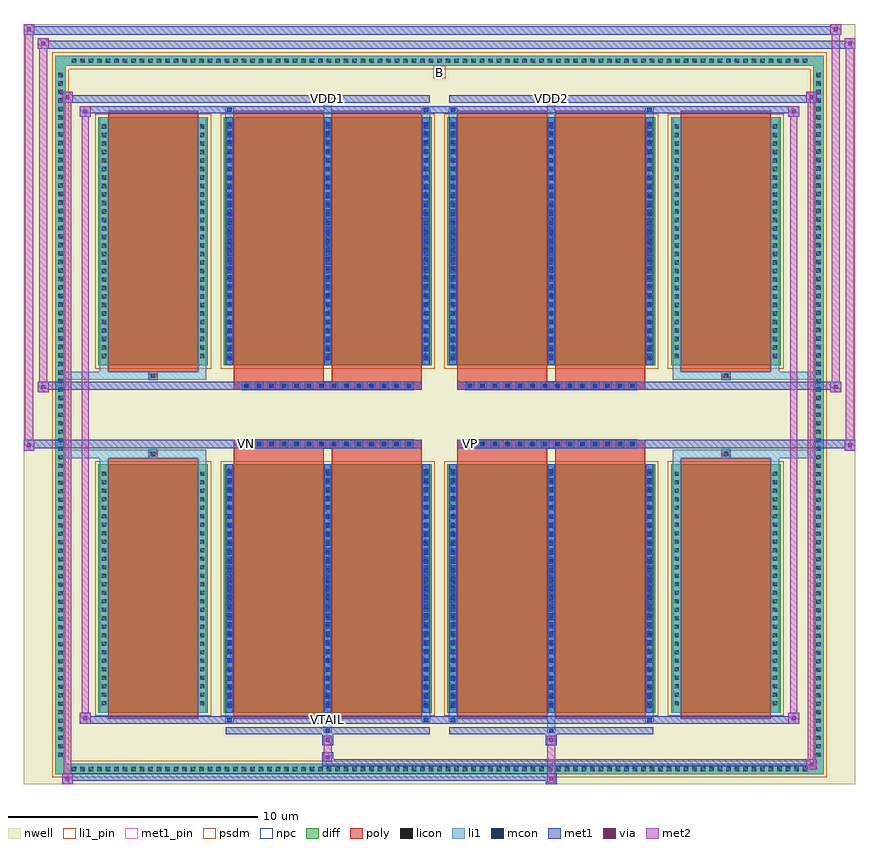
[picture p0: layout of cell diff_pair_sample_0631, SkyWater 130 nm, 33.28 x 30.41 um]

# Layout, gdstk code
import gdstk
lib = gdstk.Library(unit=1e-6, precision=5e-09)
def R(c, l, rs):  # rectangles x0, y0, x1, y1
    for r in rs: c.add(gdstk.rectangle(r[:2], r[2:], *l))
def A(c, l, x, y, w, h, nx, ny, dx, dy):  # array of equal rectangles
    R(c, l, [(x+i*dx, y+j*dy, x+i*dx+w, y+j*dy+h) for i in range(nx) for j in range(ny)])
def P(c, l, *ps):  # polygons
    for p in ps: c.add(gdstk.Polygon(p, *l))
nwell = (64, 20)
diff = (65, 20)
poly = (66, 20)
licon = (66, 44)
li1_pin = (67, 16)
li1 = (67, 20)
mcon = (67, 44)
met1_pin = (68, 16)
met1 = (68, 20)
via = (68, 44)
met2 = (69, 20)
psdm = (94, 20)
npc = (95, 20)

diff_pair_sample_0631 = lib.new_cell('diff_pair_sample_0631')
R(diff_pair_sample_0631, nwell, [(-16.64,-14.77,16.64,15.64), (-13.96,-12.96,-0.01,-0.8), (0.01,-12.96,13.96,-0.8), (-13.96,0.8,-0.01,12.96), (0.01,0.8,13.96,12.96)])
A(diff_pair_sample_0631, diff, -14.825, -14.37, 0.41, 0.41, 87, 2, 0.34, 28.33)
A(diff_pair_sample_0631, diff, -15.37, -13.805, 0.41, 0.41, 1, 81, 0, 0.34)
A(diff_pair_sample_0631, diff, 14.96, -13.805, 0.41, 0.41, 1, 81, 0, 0.34)
R(diff_pair_sample_0631, diff, [(-14.825,-14.37,14.825,-13.96), (-15.37,-13.805,-14.96,13.805), (14.96,-13.805,15.37,13.805), (-13.65,-11.915,-9.27,-1.985), (-8.63,-11.915,-0.32,-1.985), (0.32,-11.915,8.63,-1.985), (9.27,-11.915,13.65,-1.985), (-13.65,1.985,-9.27,11.915), (-8.63,1.985,-0.32,11.915), (0.32,1.985,8.63,11.915), (9.27,1.985,13.65,11.915), (-14.825,13.96,14.825,14.37)])
P(diff_pair_sample_0631, diff, [(15.37,14.37),(-15.37,14.37),(-15.37,-13.96),(-14.96,-13.96),(-14.96,13.96),(14.96,13.96),(14.96,-13.96),(-14.96,-13.96),(-15.37,-13.96),(-15.37,-14.37),(15.37,-14.37)])
A(diff_pair_sample_0631, poly, -7.89, -1.33, 0.33, 0.33, 14, 2, 0.5, 2.33)
A(diff_pair_sample_0631, poly, 1.06, -1.33, 0.33, 0.33, 14, 2, 0.5, 2.33)
R(diff_pair_sample_0631, poly, [(-13.26,-12.165,-9.66,-1.735), (-8.24,-12.165,-4.64,-1.735), (-4.31,-12.165,-0.71,-1.735), (0.71,-12.165,4.31,-1.735), (4.64,-12.165,8.24,-1.735), (9.66,-12.165,13.26,-1.735), (-11.625,-1.735,-11.295,-1.405), (-11.625,-1.735,-11.295,-1.405), (-8.24,-1.735,-4.64,-1.33), (-4.31,-1.735,-0.71,-1.33), (0.71,-1.735,4.31,-1.33), (4.64,-1.735,8.24,-1.33), (11.295,-1.735,11.625,-1.405), (11.295,-1.735,11.625,-1.405), (-8.24,-1.33,-0.71,-1), (0.71,-1.33,8.24,-1), (-8.24,1,-0.71,1.33), (0.71,1,8.24,1.33), (-8.24,1.33,-4.64,1.735), (-4.31,1.33,-0.71,1.735), (0.71,1.33,4.31,1.735), (4.64,1.33,8.24,1.735), (-11.625,1.405,-11.295,1.735), (-11.625,1.405,-11.295,1.735), (11.295,1.405,11.625,1.735), (11.295,1.405,11.625,1.735), (-13.26,1.735,-9.66,12.165), (-8.24,1.735,-4.64,12.165), (-4.31,1.735,-0.71,12.165), (0.71,1.735,4.31,12.165), (4.64,1.735,8.24,12.165), (9.66,1.735,13.26,12.165)])
A(diff_pair_sample_0631, licon, -14.705, -14.25, 0.17, 0.17, 87, 2, 0.34, 28.33)
A(diff_pair_sample_0631, licon, -15.25, -13.685, 0.17, 0.17, 1, 81, 0, 0.34)
A(diff_pair_sample_0631, licon, 15.08, -13.685, 0.17, 0.17, 1, 81, 0, 0.34)
A(diff_pair_sample_0631, licon, -13.51, -11.625, 0.17, 0.17, 1, 28, 0, 0.34)
A(diff_pair_sample_0631, licon, -9.58, -11.625, 0.17, 0.17, 1, 28, 0, 0.34)
A(diff_pair_sample_0631, licon, -8.49, -11.625, 0.17, 0.17, 3, 28, 3.93, 0.34)
A(diff_pair_sample_0631, licon, 0.46, -11.625, 0.17, 0.17, 3, 28, 3.93, 0.34)
A(diff_pair_sample_0631, licon, 9.41, -11.625, 0.17, 0.17, 1, 28, 0, 0.34)
A(diff_pair_sample_0631, licon, 13.34, -11.625, 0.17, 0.17, 1, 28, 0, 0.34)
A(diff_pair_sample_0631, licon, -7.81, -1.25, 0.17, 0.17, 14, 2, 0.5, 2.33)
A(diff_pair_sample_0631, licon, 1.14, -1.25, 0.17, 0.17, 14, 2, 0.5, 2.33)
A(diff_pair_sample_0631, licon, -13.51, 2.275, 0.17, 0.17, 1, 28, 0, 0.34)
A(diff_pair_sample_0631, licon, -9.58, 2.275, 0.17, 0.17, 1, 28, 0, 0.34)
A(diff_pair_sample_0631, licon, -8.49, 2.275, 0.17, 0.17, 3, 28, 3.93, 0.34)
A(diff_pair_sample_0631, licon, 0.46, 2.275, 0.17, 0.17, 3, 28, 3.93, 0.34)
A(diff_pair_sample_0631, licon, 9.41, 2.275, 0.17, 0.17, 1, 28, 0, 0.34)
A(diff_pair_sample_0631, licon, 13.34, 2.275, 0.17, 0.17, 1, 28, 0, 0.34)
R(diff_pair_sample_0631, licon, [(-11.545,-1.655,-11.375,-1.485), (11.375,-1.655,11.545,-1.485), (-11.545,1.485,-11.375,1.655), (11.375,1.485,11.545,1.655)])
R(diff_pair_sample_0631, li1_pin, [(-0.25,13.46,0.25,13.96)])
A(diff_pair_sample_0631, li1, -14.785, -14.33, 0.33, 0.33, 87, 2, 0.34, 28.33)
A(diff_pair_sample_0631, li1, -15.33, -13.765, 0.33, 0.33, 1, 81, 0, 0.34)
A(diff_pair_sample_0631, li1, 15, -13.765, 0.33, 0.33, 1, 81, 0, 0.34)
A(diff_pair_sample_0631, li1, -8.57, -11.915, 0.33, 9.93, 3, 2, 3.93, 13.9)
A(diff_pair_sample_0631, li1, 0.38, -11.915, 0.33, 9.93, 3, 2, 3.93, 13.9)
A(diff_pair_sample_0631, li1, -8.49, -11.715, 0.17, 0.17, 3, 27, 3.93, 0.36)
A(diff_pair_sample_0631, li1, -8.49, -11.715, 0.17, 9.53, 3, 2, 3.93, 13.9)
A(diff_pair_sample_0631, li1, 0.46, -11.715, 0.17, 0.17, 3, 27, 3.93, 0.36)
A(diff_pair_sample_0631, li1, 0.46, -11.715, 0.17, 9.53, 3, 2, 3.93, 13.9)
A(diff_pair_sample_0631, li1, -13.59, -11.705, 0.33, 0.33, 1, 28, 0, 0.34)
A(diff_pair_sample_0631, li1, -9.66, -11.705, 0.33, 0.33, 1, 28, 0, 0.34)
A(diff_pair_sample_0631, li1, -8.57, -11.705, 0.33, 0.33, 3, 28, 3.93, 0.34)
A(diff_pair_sample_0631, li1, 0.38, -11.705, 0.33, 0.33, 3, 28, 3.93, 0.34)
A(diff_pair_sample_0631, li1, 9.33, -11.705, 0.33, 0.33, 1, 28, 0, 0.34)
A(diff_pair_sample_0631, li1, 13.26, -11.705, 0.33, 0.33, 1, 28, 0, 0.34)
A(diff_pair_sample_0631, li1, -7.89, -1.33, 0.33, 0.33, 14, 2, 0.5, 2.33)
A(diff_pair_sample_0631, li1, 1.06, -1.33, 0.33, 0.33, 14, 2, 0.5, 2.33)
A(diff_pair_sample_0631, li1, -8.49, 2.185, 0.17, 0.17, 3, 27, 3.93, 0.36)
A(diff_pair_sample_0631, li1, 0.46, 2.185, 0.17, 0.17, 3, 27, 3.93, 0.36)
A(diff_pair_sample_0631, li1, -13.59, 2.195, 0.33, 0.33, 1, 28, 0, 0.34)
A(diff_pair_sample_0631, li1, -9.66, 2.195, 0.33, 0.33, 1, 28, 0, 0.34)
A(diff_pair_sample_0631, li1, -8.57, 2.195, 0.33, 0.33, 3, 28, 3.93, 0.34)
A(diff_pair_sample_0631, li1, 0.38, 2.195, 0.33, 0.33, 3, 28, 3.93, 0.34)
A(diff_pair_sample_0631, li1, 9.33, 2.195, 0.33, 0.33, 1, 28, 0, 0.34)
A(diff_pair_sample_0631, li1, 13.26, 2.195, 0.33, 0.33, 1, 28, 0, 0.34)
R(diff_pair_sample_0631, li1, [(-15.37,-14.37,-14.96,-13.96), (-15.37,-14.37,-14.96,-13.96), (-14.96,-14.37,14.96,-13.96), (14.96,-14.37,15.37,-13.96), (14.96,-14.37,15.37,-13.96), (-15.37,-13.96,-14.96,13.96), (14.96,-13.96,15.37,13.96), (-4.64,-12.72,-4.31,-11.915), (-4.56,-12.72,-4.39,-12.55), (4.31,-12.72,4.64,-11.915), (4.39,-12.72,4.56,-12.55), (-8.57,-12.29,-8.24,-11.915), (-8.49,-12.29,-8.32,-12.12), (-0.71,-12.29,-0.38,-11.915), (-0.63,-12.29,-0.46,-12.12), (0.38,-12.29,0.71,-11.915), (0.46,-12.29,0.63,-12.12), (8.24,-12.29,8.57,-11.915), (8.32,-12.29,8.49,-12.12), (-13.59,-11.915,-13.26,-1.985), (-9.66,-11.915,-9.33,-1.985), (9.33,-11.915,9.66,-1.985), (13.26,-11.915,13.59,-1.985), (-13.59,-1.985,-13.26,-1.405), (-9.66,-1.985,-9.33,-1.405), (9.33,-1.985,9.66,-1.405), (13.26,-1.985,13.59,-1.405), (-15.37,-1.735,-11.625,-1.405), (-13.59,-1.735,-11.625,-1.405), (-11.625,-1.735,-11.295,-1.405), (-11.295,-1.735,-9.33,-1.405), (9.33,-1.735,11.295,-1.405), (11.295,-1.735,11.625,-1.405), (11.295,-1.735,15.37,-1.405), (11.625,-1.735,13.59,-1.405), (-15.37,1.405,-11.625,1.735), (-13.59,1.405,-11.625,1.735), (-13.59,1.405,-13.26,1.985), (-11.625,1.405,-11.295,1.735), (-11.295,1.405,-9.33,1.735), (-9.66,1.405,-9.33,1.985), (9.33,1.405,11.295,1.735), (9.33,1.405,9.66,1.985), (11.295,1.405,11.625,1.735), (11.295,1.405,15.37,1.735), (11.625,1.405,13.59,1.735), (13.26,1.405,13.59,1.985), (-13.59,1.985,-13.26,11.915), (-9.66,1.985,-9.33,11.915), (9.33,1.985,9.66,11.915), (13.26,1.985,13.59,11.915), (-8.57,11.915,-8.24,12.29), (-4.64,11.915,-4.31,12.72), (-0.71,11.915,-0.38,12.29), (0.38,11.915,0.71,12.29), (4.31,11.915,4.64,12.72), (8.24,11.915,8.57,12.29), (-8.49,12.12,-8.32,12.29), (-0.63,12.12,-0.46,12.29), (0.46,12.12,0.63,12.29), (8.32,12.12,8.49,12.29), (-4.56,12.55,-4.39,12.72), (4.39,12.55,4.56,12.72), (-15.37,13.96,-14.96,14.37), (-15.37,13.96,-14.96,14.37), (-14.96,13.96,14.96,14.37), (14.96,13.96,15.37,14.37), (14.96,13.96,15.37,14.37)])
A(diff_pair_sample_0631, mcon, -8.49, -11.715, 0.17, 0.17, 3, 27, 3.93, 0.36)
A(diff_pair_sample_0631, mcon, 0.46, -11.715, 0.17, 0.17, 3, 27, 3.93, 0.36)
A(diff_pair_sample_0631, mcon, -7.81, -1.25, 0.17, 0.17, 14, 2, 0.5, 2.33)
A(diff_pair_sample_0631, mcon, 1.14, -1.25, 0.17, 0.17, 14, 2, 0.5, 2.33)
A(diff_pair_sample_0631, mcon, -8.49, 2.185, 0.17, 0.17, 3, 27, 3.93, 0.36)
A(diff_pair_sample_0631, mcon, 0.46, 2.185, 0.17, 0.17, 3, 27, 3.93, 0.36)
R(diff_pair_sample_0631, mcon, [(-4.56,-12.72,-4.39,-12.55), (4.39,-12.72,4.56,-12.55), (-8.49,-12.29,-8.32,-12.12), (-0.63,-12.29,-0.46,-12.12), (0.46,-12.29,0.63,-12.12), (8.32,-12.29,8.49,-12.12), (-8.49,12.12,-8.32,12.29), (-0.63,12.12,-0.46,12.29), (0.46,12.12,0.63,12.29), (8.32,12.12,8.49,12.29), (-4.56,12.55,-4.39,12.72), (4.39,12.55,4.56,12.72)])
R(diff_pair_sample_0631, met1_pin, [(-4.61,-12.33,-4.34,-12.06), (-7.86,-1.29,-7.59,-1.02), (1.09,-1.29,1.36,-1.02), (-4.61,12.51,-4.34,12.78), (4.34,12.51,4.61,12.78)])
A(diff_pair_sample_0631, met1, -8.55, -11.915, 0.29, 9.93, 3, 2, 3.93, 13.9)
A(diff_pair_sample_0631, met1, 0.4, -11.915, 0.29, 9.93, 3, 2, 3.93, 13.9)
A(diff_pair_sample_0631, met1, -8.55, -11.775, 0.29, 0.29, 3, 27, 3.93, 0.36)
A(diff_pair_sample_0631, met1, 0.4, -11.775, 0.29, 0.29, 3, 27, 3.93, 0.36)
A(diff_pair_sample_0631, met1, -7.87, -1.31, 0.29, 0.29, 14, 2, 0.5, 2.33)
A(diff_pair_sample_0631, met1, 1.08, -1.31, 0.29, 0.29, 14, 2, 0.5, 2.33)
A(diff_pair_sample_0631, met1, -8.55, 2.125, 0.29, 0.29, 3, 27, 3.93, 0.36)
A(diff_pair_sample_0631, met1, 0.4, 2.125, 0.29, 0.29, 3, 27, 3.93, 0.36)
R(diff_pair_sample_0631, met1, [(-15.1,-14.77,-14.67,-14.34), (4.26,-14.77,4.69,-14.34), (-15.1,-14.63,4.69,-14.34), (14.67,-14.2,15.1,-13.77), (-4.69,-14.06,15.1,-13.77), (-4.69,-13.92,-4.26,-13.49), (-4.69,-13.21,-4.26,-12.78), (4.26,-13.21,4.69,-12.78), (-8.55,-12.78,-0.4,-12.49), (-4.62,-12.78,-4.33,-12.49), (0.4,-12.78,8.55,-12.49), (4.33,-12.78,4.62,-12.49), (-14.39,-12.35,-13.96,-11.92), (-14.39,-12.35,-8.55,-12.06), (-8.55,-12.35,-8.26,-12.06), (-8.55,-12.35,-0.4,-12.06), (-0.69,-12.35,-0.4,-12.06), (-0.4,-12.35,0.4,-12.06), (0.4,-12.35,0.69,-12.06), (0.4,-12.35,8.55,-12.06), (8.26,-12.35,8.55,-12.06), (8.55,-12.35,14.39,-12.06), (13.96,-12.35,14.39,-11.92), (-16.64,-1.43,-16.21,-1), (16.21,-1.43,16.64,-1), (-16.64,-1.33,-0.71,-1), (-8.24,-1.33,-0.71,-1), (0.71,-1.33,8.24,-1), (0.71,-1.33,16.64,-1), (-16.07,0.9,-15.64,1.33), (15.64,0.9,16.07,1.33), (-16.07,1,-8.24,1.33), (-8.24,1,-0.71,1.33), (0.71,1,8.24,1.33), (8.24,1,16.07,1.33), (-14.39,11.92,-13.96,12.35), (13.96,11.92,14.39,12.35), (-14.39,12.06,-8.55,12.35), (-8.55,12.06,-8.26,12.35), (-8.55,12.06,-0.4,12.35), (-0.69,12.06,-0.4,12.35), (-0.4,12.06,0.4,12.35), (0.4,12.06,0.69,12.35), (0.4,12.06,8.55,12.35), (8.26,12.06,8.55,12.35), (8.55,12.06,14.39,12.35), (-15.1,12.49,-14.67,12.92), (-15.1,12.49,-8.55,12.78), (-8.55,12.49,-0.4,12.78), (-4.62,12.49,-4.33,12.78), (0.4,12.49,8.55,12.78), (4.33,12.49,4.62,12.78), (8.55,12.49,15.1,12.78), (14.67,12.49,15.1,12.92), (-16.07,14.64,-15.64,15.07), (-16.07,14.64,-13.96,14.97), (-13.96,14.64,13.96,14.97), (13.96,14.64,16.64,14.97), (16.21,14.64,16.64,15.07), (-16.64,15.21,-16.21,15.64), (-16.64,15.21,-13.96,15.54), (-13.96,15.21,13.96,15.54), (13.96,15.21,16.07,15.54), (15.64,15.21,16.07,15.64)])
R(diff_pair_sample_0631, via, [(-14.96,-14.63,-14.81,-14.48), (4.4,-14.63,4.55,-14.48), (14.81,-14.06,14.96,-13.91), (-4.55,-13.78,-4.4,-13.63), (-4.55,-13.07,-4.4,-12.92), (4.4,-13.07,4.55,-12.92), (-14.25,-12.21,-14.1,-12.06), (14.1,-12.21,14.25,-12.06), (-16.5,-1.29,-16.35,-1.14), (16.35,-1.29,16.5,-1.14), (-15.93,1.04,-15.78,1.19), (15.78,1.04,15.93,1.19), (-14.25,12.06,-14.1,12.21), (14.1,12.06,14.25,12.21), (-14.96,12.63,-14.81,12.78), (14.81,12.63,14.96,12.78), (-15.93,14.78,-15.78,14.93), (16.35,14.78,16.5,14.93), (-16.5,15.35,-16.35,15.5), (15.78,15.35,15.93,15.5)])
R(diff_pair_sample_0631, met2, [(-15.1,-14.77,-14.67,-14.34), (-15.03,-14.77,-14.74,12.92), (-14.74,-14.77,-14.67,-14.34), (-15.05,-14.72,-14.72,-14.39), (4.31,-14.72,4.64,-14.39), (4.31,-14.39,4.64,-13.16), (14.67,-14.2,15.1,-13.77), (14.74,-14.2,15.03,12.92), (15.03,-14.2,15.1,-13.77), (14.72,-14.15,15.05,-13.82), (-4.64,-13.87,-4.31,-13.54), (-4.64,-13.54,-4.31,-13.16), (-4.64,-13.16,-4.31,-12.83), (4.31,-13.16,4.64,-12.83), (-14.39,-12.35,-13.96,-11.92), (-14.32,-12.35,-14.03,12.35), (-14.03,-12.35,-13.96,-11.92), (13.96,-12.35,14.39,-11.92), (14.03,-12.35,14.32,12.35), (14.32,-12.35,14.39,-11.92), (-14.34,-12.3,-14.01,-11.97), (14.01,-12.3,14.34,-11.97), (-16.64,-1.43,-16.21,-1), (-16.59,-1.43,-16.26,15.64), (-16.26,-1.43,-16.21,-1), (16.21,-1.43,16.64,-1), (16.26,-1.43,16.59,15.07), (16.59,-1.43,16.64,-1), (-16.59,-1.38,-16.26,-1.05), (16.26,-1.38,16.59,-1.05), (-16.07,0.9,-15.64,1.33), (-16.02,0.9,-15.69,15.07), (-15.69,0.9,-15.64,1.33), (15.64,0.9,16.07,1.33), (15.69,0.9,16.02,15.64), (16.02,0.9,16.07,1.33), (-16.02,0.95,-15.69,1.28), (15.69,0.95,16.02,1.28), (-14.39,11.92,-13.96,12.35), (-14.03,11.92,-13.96,12.35), (13.96,11.92,14.39,12.35), (14.32,11.92,14.39,12.35), (-14.34,11.97,-14.01,12.3), (14.01,11.97,14.34,12.3), (-15.1,12.49,-14.67,12.92), (-14.74,12.49,-14.67,12.92), (14.67,12.49,15.1,12.92), (15.03,12.49,15.1,12.92), (-15.05,12.54,-14.72,12.87), (14.72,12.54,15.05,12.87), (-16.07,14.64,-15.64,15.07), (-15.69,14.64,-15.64,15.07), (16.21,14.64,16.64,15.07), (16.59,14.64,16.64,15.07), (-16.02,14.69,-15.69,15.02), (16.26,14.69,16.59,15.02), (-16.64,15.21,-16.21,15.64), (-16.26,15.21,-16.21,15.64), (15.64,15.21,16.07,15.64), (16.02,15.21,16.07,15.64), (-16.59,15.26,-16.26,15.59), (15.69,15.26,16.02,15.59)])
R(diff_pair_sample_0631, psdm, [(-13.78,-12.045,-9.14,-1.855), (-8.76,-12.045,-0.19,-1.855), (0.19,-12.045,8.76,-1.855), (9.14,-12.045,13.78,-1.855), (-13.78,1.855,-9.14,12.045), (-8.76,1.855,-0.19,12.045), (0.19,1.855,8.76,12.045), (9.14,1.855,13.78,12.045)])
P(diff_pair_sample_0631, psdm, [(15.5,14.5),(-15.5,14.5),(-15.5,-13.83),(-14.83,-13.83),(-14.83,13.83),(14.83,13.83),(14.83,-13.83),(-14.83,-13.83),(-15.5,-13.83),(-15.5,-14.5),(15.5,-14.5)])
A(diff_pair_sample_0631, npc, -7.91, -1.35, 0.37, 0.37, 14, 2, 0.5, 2.33)
A(diff_pair_sample_0631, npc, 1.04, -1.35, 0.37, 0.37, 14, 2, 0.5, 2.33)
R(diff_pair_sample_0631, npc, [(-11.645,-1.755,-11.275,-1.385), (11.275,-1.755,11.645,-1.385), (-7.91,-1.35,-7.04,-0.98), (-7.91,-1.35,-7.04,-0.98), (-7.41,-1.35,-6.54,-0.98), (-7.41,-1.35,-6.54,-0.98), (-6.91,-1.35,-6.04,-0.98), (-6.91,-1.35,-6.04,-0.98), (-6.41,-1.35,-5.54,-0.98), (-6.41,-1.35,-5.54,-0.98), (-5.91,-1.35,-5.04,-0.98), (-5.91,-1.35,-5.04,-0.98), (-5.41,-1.35,-4.54,-0.98), (-5.41,-1.35,-4.54,-0.98), (-4.91,-1.35,-4.04,-0.98), (-4.91,-1.35,-4.04,-0.98), (-4.41,-1.35,-3.54,-0.98), (-4.41,-1.35,-3.54,-0.98), (-3.91,-1.35,-3.04,-0.98), (-3.91,-1.35,-3.04,-0.98), (-3.41,-1.35,-2.54,-0.98), (-3.41,-1.35,-2.54,-0.98), (-2.91,-1.35,-2.04,-0.98), (-2.91,-1.35,-2.04,-0.98), (-2.41,-1.35,-1.54,-0.98), (-2.41,-1.35,-1.54,-0.98), (-1.91,-1.35,-1.04,-0.98), (-1.91,-1.35,-1.04,-0.98), (1.04,-1.35,1.91,-0.98), (1.04,-1.35,1.91,-0.98), (1.54,-1.35,2.41,-0.98), (1.54,-1.35,2.41,-0.98), (2.04,-1.35,2.91,-0.98), (2.04,-1.35,2.91,-0.98), (2.54,-1.35,3.41,-0.98), (2.54,-1.35,3.41,-0.98), (3.04,-1.35,3.91,-0.98), (3.04,-1.35,3.91,-0.98), (3.54,-1.35,4.41,-0.98), (3.54,-1.35,4.41,-0.98), (4.04,-1.35,4.91,-0.98), (4.04,-1.35,4.91,-0.98), (4.54,-1.35,5.41,-0.98), (4.54,-1.35,5.41,-0.98), (5.04,-1.35,5.91,-0.98), (5.04,-1.35,5.91,-0.98), (5.54,-1.35,6.41,-0.98), (5.54,-1.35,6.41,-0.98), (6.04,-1.35,6.91,-0.98), (6.04,-1.35,6.91,-0.98), (6.54,-1.35,7.41,-0.98), (6.54,-1.35,7.41,-0.98), (7.04,-1.35,7.91,-0.98), (7.04,-1.35,7.91,-0.98), (-7.91,0.98,-7.04,1.35), (-7.91,0.98,-7.04,1.35), (-7.41,0.98,-6.54,1.35), (-7.41,0.98,-6.54,1.35), (-6.91,0.98,-6.04,1.35), (-6.91,0.98,-6.04,1.35), (-6.41,0.98,-5.54,1.35), (-6.41,0.98,-5.54,1.35), (-5.91,0.98,-5.04,1.35), (-5.91,0.98,-5.04,1.35), (-5.41,0.98,-4.54,1.35), (-5.41,0.98,-4.54,1.35), (-4.91,0.98,-4.04,1.35), (-4.91,0.98,-4.04,1.35), (-4.41,0.98,-3.54,1.35), (-4.41,0.98,-3.54,1.35), (-3.91,0.98,-3.04,1.35), (-3.91,0.98,-3.04,1.35), (-3.41,0.98,-2.54,1.35), (-3.41,0.98,-2.54,1.35), (-2.91,0.98,-2.04,1.35), (-2.91,0.98,-2.04,1.35), (-2.41,0.98,-1.54,1.35), (-2.41,0.98,-1.54,1.35), (-1.91,0.98,-1.04,1.35), (-1.91,0.98,-1.04,1.35), (1.04,0.98,1.91,1.35), (1.04,0.98,1.91,1.35), (1.54,0.98,2.41,1.35), (1.54,0.98,2.41,1.35), (2.04,0.98,2.91,1.35), (2.04,0.98,2.91,1.35), (2.54,0.98,3.41,1.35), (2.54,0.98,3.41,1.35), (3.04,0.98,3.91,1.35), (3.04,0.98,3.91,1.35), (3.54,0.98,4.41,1.35), (3.54,0.98,4.41,1.35), (4.04,0.98,4.91,1.35), (4.04,0.98,4.91,1.35), (4.54,0.98,5.41,1.35), (4.54,0.98,5.41,1.35), (5.04,0.98,5.91,1.35), (5.04,0.98,5.91,1.35), (5.54,0.98,6.41,1.35), (5.54,0.98,6.41,1.35), (6.04,0.98,6.91,1.35), (6.04,0.98,6.91,1.35), (6.54,0.98,7.41,1.35), (6.54,0.98,7.41,1.35), (7.04,0.98,7.91,1.35), (7.04,0.98,7.91,1.35), (-11.645,1.385,-11.275,1.755), (11.275,1.385,11.645,1.755)])
diff_pair_sample_0631.add(gdstk.Label('VTAIL', (-4.475,-12.195), layer=68, texttype=5))
diff_pair_sample_0631.add(gdstk.Label('VN', (-7.725,-1.155), layer=68, texttype=5))
diff_pair_sample_0631.add(gdstk.Label('VP', (1.225,-1.155), layer=68, texttype=5))
diff_pair_sample_0631.add(gdstk.Label('B', (0,13.71), layer=67, texttype=5))
diff_pair_sample_0631.add(gdstk.Label('VDD2', (4.475,12.645), layer=68, texttype=5))
diff_pair_sample_0631.add(gdstk.Label('VDD1', (-4.475,12.645), layer=68, texttype=5))

lib.write_gds('diff_pair_sample_0631.gds')
